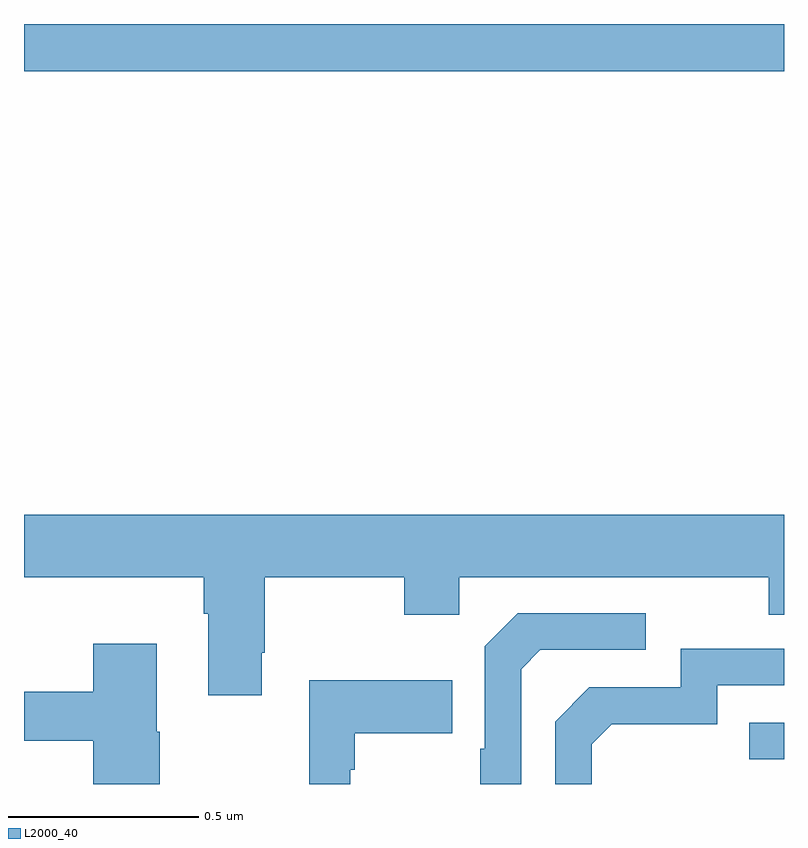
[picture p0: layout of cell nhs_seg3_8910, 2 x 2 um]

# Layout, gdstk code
import gdstk
lib = gdstk.Library(unit=1e-6, precision=1e-09)
def R(c, l, rs):  # rectangles x0, y0, x1, y1
    for r in rs: c.add(gdstk.rectangle(r[:2], r[2:], *l))
def P(c, l, *ps):  # polygons
    for p in ps: c.add(gdstk.Polygon(p, *l))
L2000_40 = (2000, 40)

nhs_seg3_8910 = lib.new_cell('nhs_seg3_8910')
R(nhs_seg3_8910, L2000_40, [(223.909,672.465,224,672.561), (222,674.276,224,674.4)])
P(nhs_seg3_8910, L2000_40, [(222.625,672.745),(222.633,672.745),(222.633,672.944),(223,672.944),(223,672.845),(223.146,672.845),(223.146,672.944),(223.96,672.944),(223.96,672.845),(224,672.845),(224,673.108),(222,673.108),(222,672.944),(222.473,672.944),(222.473,672.848),(222.485,672.848),(222.485,672.633),(222.625,672.633)],
  [(223.308,672.702),(223.359,672.753),(223.636,672.753),(223.636,672.849),(223.299,672.849),(223.212,672.762),(223.212,672.493),(223.2,672.493),(223.2,672.4),(223.308,672.4)],
  [(222.357,672.537),(222.349,672.537),(222.349,672.769),(222.182,672.769),(222.182,672.643),(222,672.643),(222,672.514),(222.182,672.514),(222.182,672.4),(222.357,672.4)],
  [(223.494,672.504),(223.547,672.557),(223.824,672.557),(223.824,672.66),(224,672.66),(224,672.756),(223.728,672.756),(223.728,672.654),(223.488,672.654),(223.398,672.564),(223.398,672.4),(223.494,672.4)],
  [(222.858,672.437),(222.871,672.437),(222.871,672.533),(223.127,672.533),(223.127,672.673),(222.75,672.673),(222.75,672.4),(222.858,672.4)])

lib.write_gds('nhs_seg3_8910.gds')
